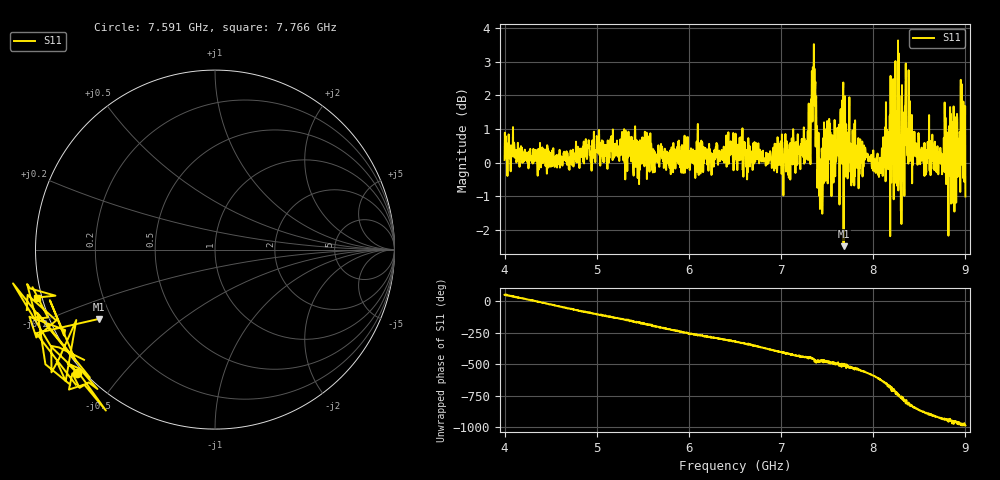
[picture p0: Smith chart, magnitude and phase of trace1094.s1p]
! Created with skrf 1.8.0 (http://scikit-rf.org).
# Hz S RI R 50.0
!freq ReS11 ImS11
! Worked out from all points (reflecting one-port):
!   1601 points, 4 GHz to 9 GHz, reference 50 ohm
!   lowest |S11| = -2.5 dB at 7.678 GHz (marker M1), VSWR 7.05, Z = 7.62 - j13.5 ohm
!   phase of S11 starts at 51 deg and turns -1036 deg over the sweep
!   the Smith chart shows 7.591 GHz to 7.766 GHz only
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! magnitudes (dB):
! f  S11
! 4 GHz  0.1
! 4.625 GHz  -0.1
! 5.25 GHz  0.3
! 5.875 GHz  0.3
! 6.5 GHz  0.4
! 7.125 GHz  -0.1
! 7.297 GHz  0.9
! 7.347 GHz  2.8
! 7.362 GHz  2.8
! 7.4 GHz  -0.6
! 7.425 GHz  -0.6
! 7.509 GHz  0.5
! 7.566 GHz  -0.3
! 7.65 GHz  0.9
! 7.678 GHz  -2.5
! 7.703 GHz  0.5
! 7.75 GHz  0.3
! 8.066 GHz  0.0
! 8.253 GHz  0.8
! 8.312 GHz  2.3
! 8.338 GHz  -1.0
! 8.375 GHz  1.0
! 8.425 GHz  0.5
! 8.556 GHz  -0.4
! 8.875 GHz  0.7
! 8.956 GHz  0.1
! 8.972 GHz  1.4
! 9 GHz  -1.0
